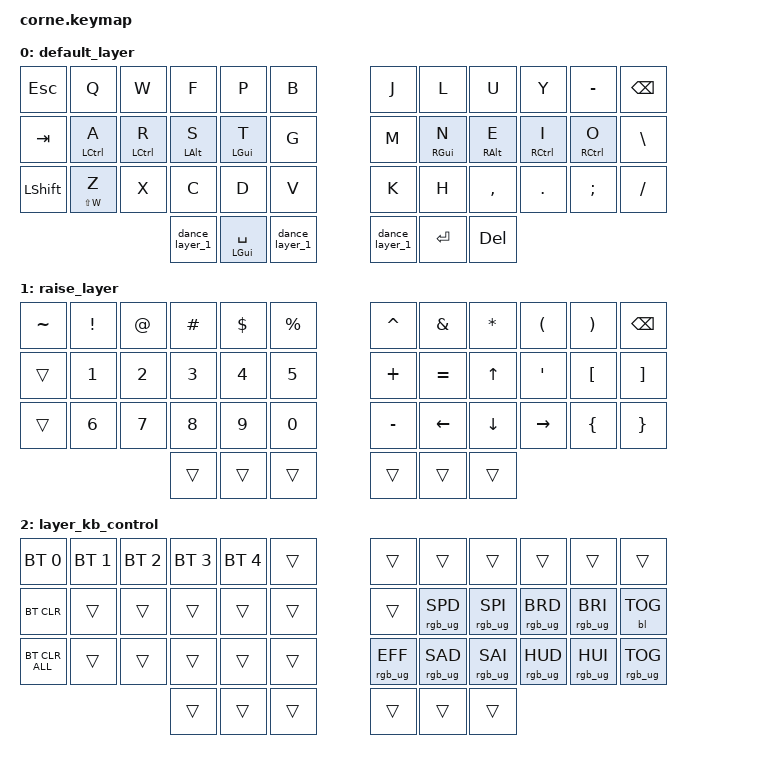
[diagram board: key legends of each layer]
/*
 * Copyright (c) 2020 The ZMK Contributors
 *
 * SPDX-License-Identifier: MIT
 */

#include <behaviors.dtsi>
#include <dt-bindings/zmk/backlight.h>
#include <dt-bindings/zmk/bt.h>
#include <dt-bindings/zmk/keys.h>
#include <dt-bindings/zmk/rgb.h>

&led_strip { chain-length = <27>; };

/ {
    combos {
        compatible = "zmk,combos";

        combo_grave {
            bindings = <&kp GRAVE>;
            key-positions = <0 1>;
            layers = <0>;
            timeout-ms = <50>;
        };

        combo_question {
            bindings = <&kp SLASH>;
            key-positions = <34 35>;
            layers = <0>;
            timeout-ms = <50>;
        };

        combo_print_screen {
            bindings = <&kp RC(RG(RS(N4)))>;
            key-positions = <37 36>;
        };

        combo_app {
            bindings = <&kp RA(SPACE)>;
            key-positions = <37 38>;
        };

        combo_bluet_layer {
            bindings = <&mo 2>;
            key-positions = <39 40 41>;
        };

        combo_delete {
            bindings = <&kp DELETE>;
            key-positions = <10 11>;
        };
    };

    behaviors {
        homerow_mod_kp: homerow_mod_kp {
            compatible = "zmk,behavior-hold-tap";
            label = "HOMEROW_MOD_KP";
            bindings = <&kp>, <&kp>;

            #binding-cells = <2>;
            tapping-term-ms = <200>;
            flavor = "tap-preferred";
            require-prior-idle-ms = <180>;
            quick-tap-ms = <100>;
        };

        dance_layer_1: dance_layer_1 {
            compatible = "zmk,behavior-tap-dance";
            label = "DANCE_LAYER_1";
            #binding-cells = <0>;
            bindings = <&sl 1>, <&mo 1>;
        };
    };

    keymap {
        compatible = "zmk,keymap";

        default_layer {
            // -----------------------------------------------------------------------------------------
            // |  TAB |  Q  |  W  |  F  |  P  |  B  |   |  J  |  L   |  U  |  Y  |  :  | BKSP |
            // | CTRL |  A  |  S  |  D  |  F  |  G  |   |  H  |  J   |  K  |  L  |  ;  |  '   |
            // | SHFT |  Z  |  X  |  C  |  V  |  B  |   |  N  |  M   |  ,  |  .  |  /  | ESC  |
            //                    | GUI | LWR | SPC |   | ENT | RSE  | ALT |

            bindings = <
&kp ESC    &kp Q                    &kp W                           &kp F                       &kp P                           &kp B             &kp J           &kp L                        &kp U                        &kp Y                            &kp MINUS                &kp BACKSPACE
&kp TAB    &homerow_mod_kp LCTRL A  &homerow_mod_kp LEFT_CONTROL R  &homerow_mod_kp LEFT_ALT S  &homerow_mod_kp LEFT_GUI T      &kp G             &kp M           &homerow_mod_kp RIGHT_GUI N  &homerow_mod_kp RIGHT_ALT E  &homerow_mod_kp RIGHT_CONTROL I  &homerow_mod_kp RCTRL O  &kp BACKSLASH
&kp LSHFT  &homerow_mod_kp LS(W) Z  &kp X                           &kp C                       &kp D                           &kp V             &kp K           &kp H                        &kp COMMA                    &kp PERIOD                       &kp SEMICOLON            &kp SLASH
                                                                    &dance_layer_1              &homerow_mod_kp LEFT_GUI SPACE  &dance_layer_1    &dance_layer_1  &kp RETURN                   &kp DELETE
            >;
        };

        raise_layer {
            // -----------------------------------------------------------------------------------------
            // |  TAB |  !  |  @  |  #  |  $  |  %  |   |  ^  |  &  |  *  |  (  |  )  | BKSP |
            // | CTRL |     |     |     |     |     |   |  -  |  =  |  [  |  ]  |  \  |  `   |
            // | SHFT |     |     |     |     |     |   |  _  |  +  |  {  |  }  | "|" |  ~   |
            //                    | GUI |     | SPC |   | ENT |     | ALT |

            bindings = <
&kp TILDE  &kp EXCL  &kp AT  &kp HASH  &kp DLLR  &kp PRCNT    &kp CARET  &kp AMPS        &kp ASTRK       &kp LPAR          &kp RPAR  &kp BSPC
&trans     &kp N1    &kp N2  &kp N3    &kp N4    &kp N5       &kp PLUS   &kp EQUAL       &kp UP_ARROW    &kp SINGLE_QUOTE  &kp LBKT  &kp RBKT
&trans     &kp N6    &kp N7  &kp N8    &kp N9    &kp N0       &kp MINUS  &kp LEFT_ARROW  &kp DOWN_ARROW  &kp RIGHT_ARROW   &kp LBRC  &kp RBRC
                             &trans    &trans    &trans       &trans     &trans          &trans
            >;
        };

        layer_kb_control {
            bindings = <
&bt BT_SEL 0    &bt BT_SEL 1  &bt BT_SEL 2  &bt BT_SEL 3  &bt BT_SEL 4  &trans    &trans           &trans           &trans           &trans           &trans           &trans
&bt BT_CLR      &trans        &trans        &trans        &trans        &trans    &trans           &rgb_ug RGB_SPD  &rgb_ug RGB_SPI  &rgb_ug RGB_BRD  &rgb_ug RGB_BRI  &bl BL_TOG
&bt BT_CLR_ALL  &trans        &trans        &trans        &trans        &trans    &rgb_ug RGB_EFF  &rgb_ug RGB_SAD  &rgb_ug RGB_SAI  &rgb_ug RGB_HUD  &rgb_ug RGB_HUI  &rgb_ug RGB_TOG
                                            &trans        &trans        &trans    &trans           &trans           &trans
            >;
        };
    };
};
